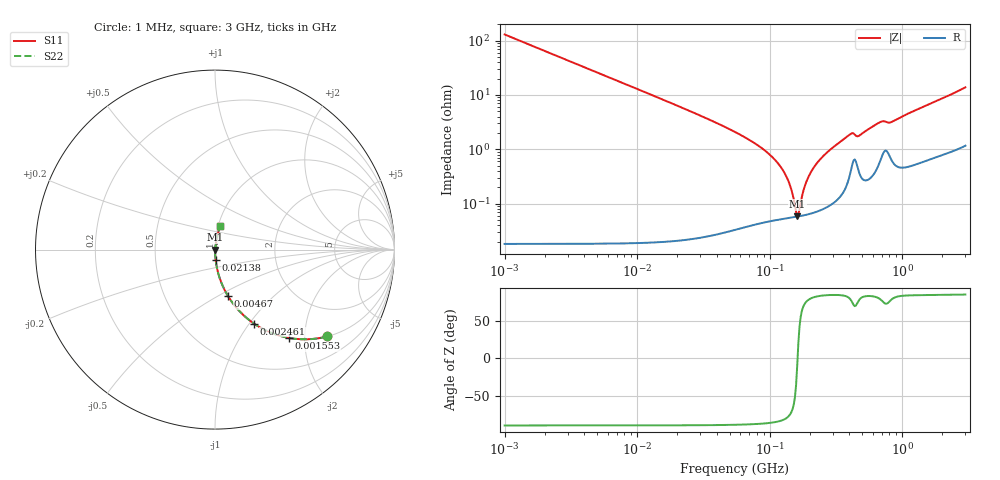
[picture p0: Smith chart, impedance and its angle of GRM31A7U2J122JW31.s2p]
!Murata Part Number: GRM31A7U2J122JW31
!These Parameters are Measured in Series Mode Connection
!Data Generated on Mar 30, 2021
!  o--ll--o
!Port1  Port2
!  o------o
!Operation Temp=25[degC], DC Bias Voltage=0[V]
!Freq. Start=1000[kHz] Stop=3[GHz] 401[Steps]
# Hz S RI R 50
!Freq.(Hz) S11(Real) S11(Imag) S21(Real) S21(Imag) S12(Real) S12(Imag) S22(Real) S22(Imag)
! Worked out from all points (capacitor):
!   401 points, 1 MHz to 3 GHz, reference 50 ohm
!   read as one part in series: C = 1.23 nF near 1.041 MHz
!   lowest |Z| = 58.6 mohm at 161.4 MHz (marker M1)
!   series resonance near 162.5 MHz, so ESL is about 780 pH
!   S11 on the Smith chart (normalised r, x): 1 MHz: 1.00, -2.59; 1.553 MHz: 1.00, -1.67; 2.461 MHz: 1.00, -1.05; 4.67 MHz: 1.00, -0.55; 21.38 MHz: 1.00, -0.12; 3 GHz: 1.02, +0.28
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1000000  0.6268 -0.4836  0.3732 0.4836  0.3732 0.4836  0.6268 -0.4836
1553251  0.4104 -0.4918  0.5896 0.4918  0.5896 0.4918  0.4104 -0.4918
2461366  0.2171 -0.4121  0.7829 0.4121  0.7829 0.4121  0.2171 -0.4121
3823119  0.1031 -0.3038  0.8969 0.3038  0.8969 0.3038  0.1031 -0.3038
4670311  0.0715 -0.2574  0.9285 0.2574  0.9285 0.2574  0.0715 -0.2574
1.461624e7  0.00786 -0.0872  0.9921 0.0872  0.9921 0.0872  0.00786 -0.0872
2.137957e7  0.00373 -0.0593  0.9963 0.0593  0.9963 0.0593  0.00373 -0.0593
5.477226e7  0.000762 -0.0208  0.9992 0.0208  0.9992 0.0208  0.000762 -0.0208
8.679508e7  0.00055 -0.0106  0.9994 0.0106  0.9994 0.0106  0.00055 -0.0106
1.171891e8  0.000535 -0.00526  0.9995 0.00526  0.9995 0.00526  0.000535 -0.00526
1.375402e8  0.000547 -0.00265  0.9995 0.00265  0.9995 0.00265  0.000547 -0.00265
1.614254e8  0.000576 -0.000105  0.9994 0.000105  0.9994 0.000105  0.000576 -0.000105
1.680187e8  0.000587 0.000532  0.9994 -0.000532  0.9994 -0.000532  0.000587 0.000532
1.784169e8  0.000606 0.00149  0.9994 -0.00149  0.9994 -0.00149  0.000606 0.00149
1.894586e8  0.00063 0.00246  0.9994 -0.00246  0.9994 -0.00246  0.00063 0.00246
2.094008e8  0.000683 0.00411  0.9993 -0.00411  0.9993 -0.00411  0.000683 0.00411
2.662515e8  0.000911 0.00834  0.9991 -0.00834  0.9991 -0.00834  0.000911 0.00834
4.0536e8  0.00391 0.0185  0.9961 -0.0185  0.9961 -0.0185  0.00391 0.0185
4.66327e8  0.00446 0.0168  0.9955 -0.0168  0.9955 -0.0168  0.00446 0.0168
6.821091e8  0.00697 0.0306  0.993 -0.0306  0.993 -0.0306  0.00697 0.0306
8.005644e8  0.00844 0.0296  0.9916 -0.0296  0.9916 -0.0296  0.00844 0.0296
3e9  0.0294 0.132  0.9706 -0.132  0.9706 -0.132  0.0294 0.132
